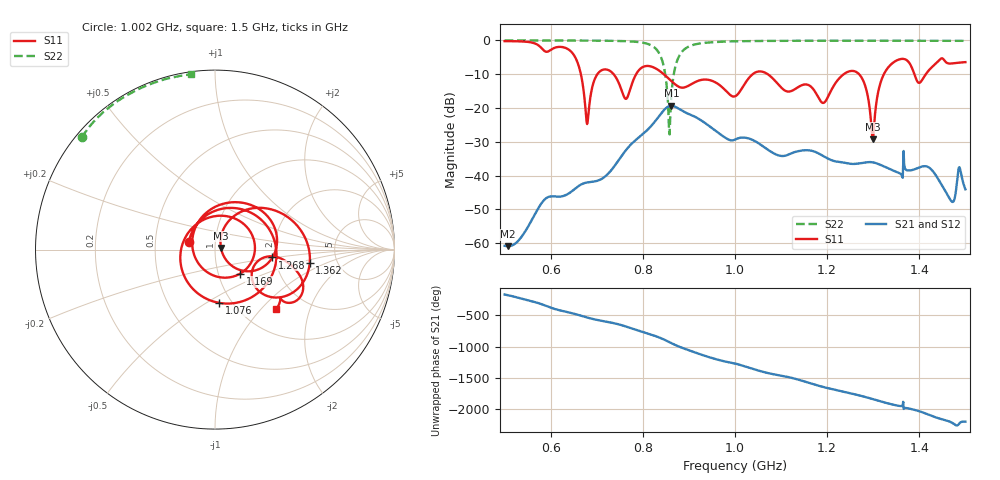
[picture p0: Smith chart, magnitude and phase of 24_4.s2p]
! TOUCHSTONE file generated by CST MICROWAVE STUDIO
! Date and time: Sat Nov 14 20:01:40 2020
! Project name: Scenario_1_Planar_Body_Tissue_Out_of_Line.cst
! Parameters = {dy1=-51.9; L_HA=400; Ltissue=700; MT=2.54; Rad_Dielectric=30; Rad_Lower=7.3; Rad_Upper=30; Wtissue=700; a_HA=580; a_WG=246; b_HA=500; b_WG=121; c_HA=0; c_WG=187; d_feed=85; dx1=693; h_feed=15; h_lower=18; h_upper=40; hfat=3; hgap=25; hmuscle=50; hskin=1.5}
! Header version: 2018
! Port assignment regex: !\s*Touchstone port\s*([0-9]+)\s*=\s*(CST MWS port|CST DS port)\s*([0-9]+|Zmin|Zmax)\s*\(\"(.*)\"\)(\s*mode\s*([0-9]+))?.*
! Touchstone port assignment:
! Touchstone port 1 = CST MWS port 1 ("")
! Touchstone port 2 = CST MWS port 2 ("")
# GHz S DB R 50
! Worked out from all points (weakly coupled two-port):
!   1003 points, 500 MHz to 1.5 GHz, reference 50 ohm
!   highest |S21| = -19.36 dB at 862 MHz (marker M1); lowest = -60.9 dB at 507 MHz (marker M2)
!   lowest |S11| = -29.2 dB at 1.299 GHz (marker M3), VSWR 1.07, Z = 53.5 + j0.906 ohm
!   |S11| at or under -10 dB: 845.4 MHz to 1.038 GHz (192.9 MHz wide, 20.5 % of centre); 1.071 GHz to 1.236 GHz (165 MHz wide, 14.3 % of centre); 1.269 GHz to 1.323 GHz (53.74 MHz wide, 4.15 % of centre) (the widest 3 of 6)
!   |S22| runs from -27.8 to 0.0 dB; largest |S21 - S12| = 0.0034
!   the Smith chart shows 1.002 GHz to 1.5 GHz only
!   S11 on the Smith chart (normalised r, x): 1.002 GHz: 0.74, +0.06; 1.076 GHz: 0.88, -0.57; 1.169 GHz: 1.27, -0.35; 1.268 GHz: 1.93, -0.19; 1.362 GHz: 3.13, -0.67; 1.5 GHz: 1.42, -1.22
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0.5  -0.21 -121.5  -60.81 -170.0  -60.81 -170.0  -0.01 151.1
0.507  -0.21 -124.5  -60.91 179.8  -60.91 179.8  -0.01 150.7
0.622  -1.91 173.2  -46.21 -66.1  -46.21 -66.1  -0.03 142.4
0.667  -10.99 96.7  -42.59 -150.7  -42.59 -150.7  -0.04 138.4
0.68  -24.31 161.1  -42.03 -178.9  -42.03 -178.9  -0.05 137.1
0.709  -8.94 161.7  -41.11 133.0  -41.11 133.0  -0.08 133.7
0.777  -12.61 -120.9  -30.43 6.3  -30.43 6.3  -0.32 121.2
0.834  -8.80 58.3  -22.64 -131.1  -22.64 -131.1  -3.48 83.3
0.862  -12.05 -30.3  -19.36 133.7  -19.36 133.7  -16.13 -131.8
0.889  -13.95 -139.7  -21.09 48.8  -21.09 48.8  -2.77 177.3
0.949  -11.90 7.1  -25.85 -101.8  -25.85 -101.8  -0.55 149.0
1  -16.56 174.8  -29.36 168.8  -29.36 168.8  -0.26 140.1
1.002  -16.42 164.5  -29.25 165.3  -29.25 165.3  -0.25 139.8
1.046  -9.38 2.2  -30.02 66.0  -30.02 66.0  -0.17 134.8
1.076  -10.51 -85.2  -32.78 8.6  -32.78 8.6  -0.14 131.8
1.167  -13.96 -36.8  -32.68 -154.2  -32.68 -154.2  -0.09 124.2
1.169  -14.27 -44.1  -32.75 -158.7  -32.75 -158.7  -0.09 124.0
1.268  -9.82 -7.8  -36.44 22.7  -36.44 22.7  -0.08 116.5
1.299  -29.25 14.2  -36.09 -40.8  -36.09 -40.8  -0.08 114.1
1.334  -7.74 31.0  -37.96 -112.2  -37.96 -112.2  -0.09 111.5
1.362  -5.46 -8.3  -39.92 -150.7  -39.94 -150.5  -0.09 109.3
1.5  -6.43 -44.2  -44.07 -40.3  -44.07 -40.3  -0.12 97.9
